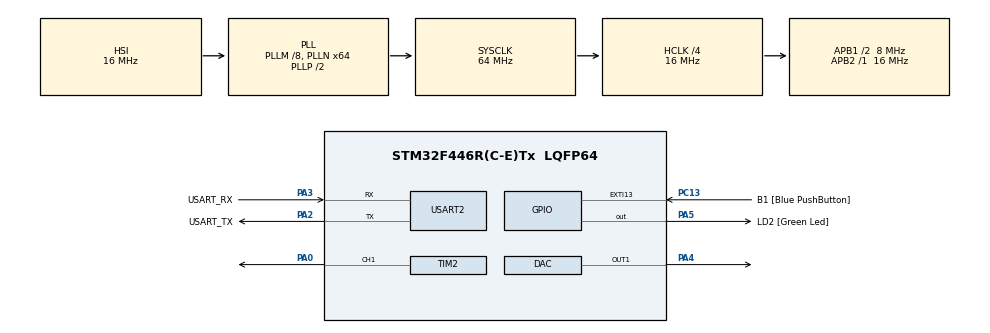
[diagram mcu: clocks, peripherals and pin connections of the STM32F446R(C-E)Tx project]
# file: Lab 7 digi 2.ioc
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DAC.DAC_Trigger=DAC_TRIGGER_NONE
Mcu.Family=STM32F4
Mcu.Name=STM32F446R(C-E)Tx
Mcu.Package=LQFP64
NVIC.PriorityGroup=NVIC_PRIORITYGROUP_0
NVIC.TIM3_IRQn=true\:0\:0\:false\:false\:true\:true\:true\:true
NVIC.USART2_IRQn=true\:0\:0\:false\:false\:true\:true\:true\:true
PA0-WKUP.Signal=S_TIM2_CH1_ETR
PA13.GPIO_Label=TMS
PA13.Signal=SYS_JTMS-SWDIO
PA14.GPIO_Label=TCK
PA14.Signal=SYS_JTCK-SWCLK
PA2.GPIO_Label=USART_TX
PA2.Mode=Asynchronous
PA2.Signal=USART2_TX
PA3.GPIO_Label=USART_RX
PA3.Mode=Asynchronous
PA3.Signal=USART2_RX
PA4.Signal=COMP_DAC1_group
PA5.GPIO_Label=LD2 [Green Led]
PA5.Signal=GPIO_Output
PB3.GPIO_Label=SWO
PB3.Signal=SYS_JTDO-SWO
PC13.GPIO_Label=B1 [Blue PushButton]
PC13.GPIO_ModeDefaultEXTI=GPIO_MODE_IT_FALLING
PC13.Signal=GPXTI13
PC14-OSC32_IN.Signal=RCC_OSC32_IN
PC15-OSC32_OUT.Signal=RCC_OSC32_OUT
PH0-OSC_IN.Signal=RCC_OSC_IN
PH1-OSC_OUT.Signal=RCC_OSC_OUT
ProjectManager.HeapSize=0x200
ProjectManager.StackSize=0x400
ProjectManager.TargetToolchain=STM32CubeIDE
RCC.AHBCLKDivider=RCC_SYSCLK_DIV4
RCC.AHBFreq_Value=16000000
RCC.APB1CLKDivider=RCC_HCLK_DIV2
RCC.APB1Freq_Value=8000000
RCC.APB1TimFreq_Value=16000000
RCC.APB2Freq_Value=16000000
RCC.APB2TimFreq_Value=16000000
RCC.CortexFreq_Value=16000000
RCC.FLatency-AdvancedSettings=FLASH_LATENCY_0
RCC.HCLKFreq_Value=16000000
RCC.HSE_VALUE=8000000
RCC.HSI_VALUE=16000000
RCC.LSE_VALUE=32768
RCC.PLLM=8
RCC.PLLN=64
RCC.SYSCLKFreq_VALUE=64000000
RCC.SYSCLKSource=RCC_SYSCLKSOURCE_PLLCLK
RCC.USBFreq_Value=64000000
RCC.VCOOutputFreq_Value=128000000
SH.COMP_DAC1_group.0=DAC_OUT1,DAC_OUT1
SH.S_TIM2_CH1_ETR.0=TIM2_CH1,PWM Generation1 CH1
TIM2.Channel-PWM\ Generation1\ CH1=TIM_CHANNEL_1
TIM2.Period=1000
TIM2.Prescaler=15
TIM2.Pulse-PWM\ Generation1\ CH1=500
TIM3.Period=124
TIM3.Prescaler=15
TIM6.Period=89
TIM6.TIM_MasterOutputTrigger=TIM_TRGO_UPDATE
USART2.VirtualMode=VM_ASYNC
VP_TIM2_VS_ClockSourceINT.Mode=Internal
VP_TIM3_VS_ClockSourceINT.Mode=Internal
VP_TIM6_VS_ClockSourceINT.Mode=Enable_Timer
board=NUCLEO-F446RE

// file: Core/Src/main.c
/* USER CODE BEGIN Header */
/**
  ******************************************************************************
  * @file           : main.c
  * @brief          : Main program body
  ******************************************************************************
  * @attention
  *
  * Copyright (c) 2026 STMicroelectronics.
  * All rights reserved.
  *
  * This software is licensed under terms that can be found in the LICENSE file
  * in the root directory of this software component.
  * If no LICENSE file comes with this software, it is provided AS-IS.
  *
  ******************************************************************************
  */
/* USER CODE END Header */
#include "main.h"

/* USER CODE BEGIN Includes */
#include <string.h>
/* USER CODE END Includes */

/* USER CODE BEGIN PD */
#define FS_DAC 8000UL
/* USER CODE END PD */

DAC_HandleTypeDef hdac;

TIM_HandleTypeDef htim2;
TIM_HandleTypeDef htim3;
TIM_HandleTypeDef htim6;

UART_HandleTypeDef huart2;

/* USER CODE BEGIN PV */
typedef struct {
    uint16_t frecuencia;
    uint8_t duracion;
    uint8_t punto;
} Nota;

static const Nota melodiaEntertainer[] = {
    {587, 8, 0}, {622, 8, 0}, {659, 8, 0}, {1047, 4, 0}, {659, 8, 0},
    {1047, 4, 0}, {659, 8, 0}, {1047, 2, 0}, {1047, 8, 0}, {1175, 8, 0},
    {1245, 8, 0}, {1319, 8, 0}, {1047, 8, 0}, {1175, 8, 0}, {1319, 8, 0},
    {988, 4, 0}, {1175, 8, 0}, {1047, 2, 0}
};

static const Nota melodiaZelda[] = {
    {932, 2, 0}, {698, 2, 0}, {0, 2, 0}, {932, 8, 0}, {1047, 8, 0},
    {1175, 8, 0}, {1245, 8, 0}, {1397, 2, 0}, {0, 2, 0}, {1397, 4, 0},
    {1397, 4, 0}, {1556, 8, 0}, {1661, 8, 0}, {1865, 2, 0}, {0, 2, 0},
    {1865, 4, 0}, {1865, 8, 0}, {0, 8, 0}, {1661, 8, 0}, {1556, 8, 0},
    {1661, 4, 0}, {1556, 8, 0}, {1397, 2, 0}, {0, 2, 0}, {1397, 2, 0},
    {1245, 4, 0}, {1245, 8, 0}, {1397, 8, 0}, {1556, 2, 0}, {0, 2, 0},
    {1397, 4, 0}, {1245, 4, 0}, {1109, 4, 0}, {1109, 8, 0}, {1245, 8, 0},
    {1397, 2, 0}, {0, 2, 0}, {1245, 4, 0}, {1109, 4, 0}, {1047, 4, 0},
    {1047, 8, 0}, {1175, 8, 0}, {1319, 2, 0}, {0, 2, 0}, {1568, 2, 0},
    {1397, 1, 1}
};

#define CANT_NOTAS_ENTERTAINER (sizeof(melodiaEntertainer) / sizeof(Nota))
#define CANT_NOTAS_ZELDA       (sizeof(melodiaZelda) / sizeof(Nota))

// Tabla Sinusoidal de 32 muestras para síntesis DAC
static const uint16_t tablaSeno32[32] = {
    2048, 2449, 2831, 3185, 3498, 3750, 3939, 4056,
    4095, 4056, 3939, 3750, 3498, 3185, 2831, 2449,
    2048, 1647, 1265,  911,  598,  346,  157,   40,
       0,   40,  157,  346,  598,  911, 1265, 1647
};

uint8_t rxBuffer[1];
volatile uint8_t comandoSeleccionado = 0;
volatile uint8_t reproducirDAC = 0;
volatile uint8_t reproducirPWM = 0;

volatile uint8_t indiceSeno = 0;
volatile uint32_t pasoAcumulador = 0;
volatile uint32_t acumuladorFase = 0;
/* USER CODE END PV */

void SystemClock_Config(void);
static void MX_GPIO_Init(void);
static void MX_DAC_Init(void);
static void MX_TIM6_Init(void);
static void MX_USART2_UART_Init(void);
static void MX_TIM2_Init(void);
static void MX_TIM3_Init(void);
/* USER CODE BEGIN PFP */
void MostrarMenuUART(void);
void ReproducirCancionDAC(void);
void ReproducirCancionPWM(void);
void FijarFrecuenciaPWM(uint16_t freq);
void FijarFrecuenciaDAC(uint16_t freq);
/* USER CODE END PFP */

int main(void)
{

  /* MCU Configuration--------------------------------------------------------*/

  /* Reset of all peripherals, Initializes the Flash interface and the Systick. */
  HAL_Init();

  /* Configure the system clock */
  SystemClock_Config();

  /* Initialize all configured peripherals */
  MX_GPIO_Init();
  MX_DAC_Init();
  MX_TIM6_Init();
  MX_USART2_UART_Init();
  MX_TIM2_Init();
  MX_TIM3_Init();
  /* USER CODE BEGIN 2 */
  //Iniciar contador de ciclos
  HAL_UART_Receive_IT(&huart2, rxBuffer, 1);
    HAL_TIM_Base_Start_IT(&htim3);
    HAL_DAC_Start(&hdac, DAC_CHANNEL_1);

    MostrarMenuUART();
  /* USER CODE END 2 */

  /* Infinite loop */
  /* USER CODE BEGIN WHILE */
    while (1)
      {
        if (comandoSeleccionado != 0)
        {
          if (comandoSeleccionado == '1')
          {
            reproducirDAC = 1;
            ReproducirCancionDAC();
            reproducirDAC = 0;
            HAL_DAC_SetValue(&hdac, DAC_CHANNEL_1, DAC_ALIGN_12B_R, 0);
            MostrarMenuUART();
          }
          else if (comandoSeleccionado == '2')
          {
            reproducirPWM = 1;
            ReproducirCancionPWM();
            reproducirPWM = 0;
            HAL_TIM_PWM_Stop(&htim2, TIM_CHANNEL_1);
            MostrarMenuUART();
          }
          comandoSeleccionado = 0;
        }
    /* USER CODE END WHILE */

      }
}

void SystemClock_Config(void)
{
  RCC_OscInitTypeDef RCC_OscInitStruct = {0};
  RCC_ClkInitTypeDef RCC_ClkInitStruct = {0};

  /** Configure the main internal regulator output voltage
  */
  __HAL_RCC_PWR_CLK_ENABLE();
  __HAL_PWR_VOLTAGESCALING_CONFIG(PWR_REGULATOR_VOLTAGE_SCALE3);

  /** Initializes the RCC Oscillators according to the specified parameters
  * in the RCC_OscInitTypeDef structure.
  */
  RCC_OscInitStruct.OscillatorType = RCC_OSCILLATORTYPE_HSI;
  RCC_OscInitStruct.HSIState = RCC_HSI_ON;
  RCC_OscInitStruct.HSICalibrationValue = RCC_HSICALIBRATION_DEFAULT;
  RCC_OscInitStruct.PLL.PLLState = RCC_PLL_ON;
  RCC_OscInitStruct.PLL.PLLSource = RCC_PLLSOURCE_HSI;
  RCC_OscInitStruct.PLL.PLLM = 8;
  RCC_OscInitStruct.PLL.PLLN = 64;
  RCC_OscInitStruct.PLL.PLLP = RCC_PLLP_DIV2;
  RCC_OscInitStruct.PLL.PLLQ = 2;
  RCC_OscInitStruct.PLL.PLLR = 2;
  if (HAL_RCC_OscConfig(&RCC_OscInitStruct) != HAL_OK)
  {
    Error_Handler();
  }

  /** Initializes the CPU, AHB and APB buses clocks
  */
  RCC_ClkInitStruct.ClockType = RCC_CLOCKTYPE_HCLK|RCC_CLOCKTYPE_SYSCLK
                              |RCC_CLOCKTYPE_PCLK1|RCC_CLOCKTYPE_PCLK2;
  RCC_ClkInitStruct.SYSCLKSource = RCC_SYSCLKSOURCE_PLLCLK;
  RCC_ClkInitStruct.AHBCLKDivider = RCC_SYSCLK_DIV4;
  RCC_ClkInitStruct.APB1CLKDivider = RCC_HCLK_DIV2;
  RCC_ClkInitStruct.APB2CLKDivider = RCC_HCLK_DIV1;

  if (HAL_RCC_ClockConfig(&RCC_ClkInitStruct, FLASH_LATENCY_0) != HAL_OK)
  {
    Error_Handler();
  }
}

static void MX_DAC_Init(void)
{

  DAC_ChannelConfTypeDef sConfig = {0};

  /** DAC Initialization
  */
  hdac.Instance = DAC;
  if (HAL_DAC_Init(&hdac) != HAL_OK)
  {
    Error_Handler();
  }

  /** DAC channel OUT1 config
  */
  sConfig.DAC_Trigger = DAC_TRIGGER_NONE;
  sConfig.DAC_OutputBuffer = DAC_OUTPUTBUFFER_ENABLE;
  if (HAL_DAC_ConfigChannel(&hdac, &sConfig, DAC_CHANNEL_1) != HAL_OK)
  {
    Error_Handler();
  }

}

static void MX_TIM2_Init(void)
{

  TIM_ClockConfigTypeDef sClockSourceConfig = {0};
  TIM_MasterConfigTypeDef sMasterConfig = {0};
  TIM_OC_InitTypeDef sConfigOC = {0};

  htim2.Instance = TIM2;
  htim2.Init.Prescaler = 15;
  htim2.Init.CounterMode = TIM_COUNTERMODE_UP;
  htim2.Init.Period = 1000;
  htim2.Init.ClockDivision = TIM_CLOCKDIVISION_DIV1;
  htim2.Init.AutoReloadPreload = TIM_AUTORELOAD_PRELOAD_DISABLE;
  if (HAL_TIM_Base_Init(&htim2) != HAL_OK)
  {
    Error_Handler();
  }
  sClockSourceConfig.ClockSource = TIM_CLOCKSOURCE_INTERNAL;
  if (HAL_TIM_ConfigClockSource(&htim2, &sClockSourceConfig) != HAL_OK)
  {
    Error_Handler();
  }
  if (HAL_TIM_PWM_Init(&htim2) != HAL_OK)
  {
    Error_Handler();
  }
  sMasterConfig.MasterOutputTrigger = TIM_TRGO_RESET;
  sMasterConfig.MasterSlaveMode = TIM_MASTERSLAVEMODE_DISABLE;
  if (HAL_TIMEx_MasterConfigSynchronization(&htim2, &sMasterConfig) != HAL_OK)
  {
    Error_Handler();
  }
  sConfigOC.OCMode = TIM_OCMODE_PWM1;
  sConfigOC.Pulse = 500;
  sConfigOC.OCPolarity = TIM_OCPOLARITY_HIGH;
  sConfigOC.OCFastMode = TIM_OCFAST_DISABLE;
  if (HAL_TIM_PWM_ConfigChannel(&htim2, &sConfigOC, TIM_CHANNEL_1) != HAL_OK)
  {
    Error_Handler();
  }
  HAL_TIM_MspPostInit(&htim2);

}

static void MX_TIM3_Init(void)
{

  TIM_ClockConfigTypeDef sClockSourceConfig = {0};
  TIM_MasterConfigTypeDef sMasterConfig = {0};

  htim3.Instance = TIM3;
  htim3.Init.Prescaler = 15;
  htim3.Init.CounterMode = TIM_COUNTERMODE_UP;
  htim3.Init.Period = 124;
  htim3.Init.ClockDivision = TIM_CLOCKDIVISION_DIV1;
  htim3.Init.AutoReloadPreload = TIM_AUTORELOAD_PRELOAD_DISABLE;
  if (HAL_TIM_Base_Init(&htim3) != HAL_OK)
  {
    Error_Handler();
  }
  sClockSourceConfig.ClockSource = TIM_CLOCKSOURCE_INTERNAL;
  if (HAL_TIM_ConfigClockSource(&htim3, &sClockSourceConfig) != HAL_OK)
  {
    Error_Handler();
  }
  sMasterConfig.MasterOutputTrigger = TIM_TRGO_RESET;
  sMasterConfig.MasterSlaveMode = TIM_MASTERSLAVEMODE_DISABLE;
  if (HAL_TIMEx_MasterConfigSynchronization(&htim3, &sMasterConfig) != HAL_OK)
  {
    Error_Handler();
  }

}

static void MX_TIM6_Init(void)
{

  TIM_MasterConfigTypeDef sMasterConfig = {0};

  htim6.Instance = TIM6;
  htim6.Init.Prescaler = 0;
  htim6.Init.CounterMode = TIM_COUNTERMODE_UP;
  htim6.Init.Period = 89;
  htim6.Init.AutoReloadPreload = TIM_AUTORELOAD_PRELOAD_DISABLE;
  if (HAL_TIM_Base_Init(&htim6) != HAL_OK)
  {
    Error_Handler();
  }
  sMasterConfig.MasterOutputTrigger = TIM_TRGO_UPDATE;
  sMasterConfig.MasterSlaveMode = TIM_MASTERSLAVEMODE_DISABLE;
  if (HAL_TIMEx_MasterConfigSynchronization(&htim6, &sMasterConfig) != HAL_OK)
  {
    Error_Handler();
  }

}

static void MX_USART2_UART_Init(void)
{

  huart2.Instance = USART2;
  huart2.Init.BaudRate = 115200;
  huart2.Init.WordLength = UART_WORDLENGTH_8B;
  huart2.Init.StopBits = UART_STOPBITS_1;
  huart2.Init.Parity = UART_PARITY_NONE;
  huart2.Init.Mode = UART_MODE_TX_RX;
  huart2.Init.HwFlowCtl = UART_HWCONTROL_NONE;
  huart2.Init.OverSampling = UART_OVERSAMPLING_16;
  if (HAL_UART_Init(&huart2) != HAL_OK)
  {
    Error_Handler();
  }

}

static void MX_GPIO_Init(void)
{
  GPIO_InitTypeDef GPIO_InitStruct = {0};

  /* GPIO Ports Clock Enable */
  __HAL_RCC_GPIOC_CLK_ENABLE();
  __HAL_RCC_GPIOH_CLK_ENABLE();
  __HAL_RCC_GPIOA_CLK_ENABLE();
  __HAL_RCC_GPIOB_CLK_ENABLE();

  /*Configure GPIO pin Output Level */
  HAL_GPIO_WritePin(LD2_GPIO_Port, LD2_Pin, GPIO_PIN_RESET);

  /*Configure GPIO pin : B1_Pin */
  GPIO_InitStruct.Pin = B1_Pin;
  GPIO_InitStruct.Mode = GPIO_MODE_IT_FALLING;
  GPIO_InitStruct.Pull = GPIO_NOPULL;
  HAL_GPIO_Init(B1_GPIO_Port, &GPIO_InitStruct);

  /*Configure GPIO pin : LD2_Pin */
  GPIO_InitStruct.Pin = LD2_Pin;
  GPIO_InitStruct.Mode = GPIO_MODE_OUTPUT_PP;
  GPIO_InitStruct.Pull = GPIO_NOPULL;
  GPIO_InitStruct.Speed = GPIO_SPEED_FREQ_LOW;
  HAL_GPIO_Init(LD2_GPIO_Port, &GPIO_InitStruct);

}

/* USER CODE BEGIN 4 */
void MostrarMenuUART(void)
{
  char menu[] = "\r\n  REPRODUCTOR DE AUDIO - LAB 07    \r\n"
                " 1. Reproducir Entertainer (DAC)  \r\n"
                " 2. Reproducir Zelda (PWM)      \r\n"
                "-----------------------------------\r\n"
                "Ingrese una opcion: ";
  HAL_UART_Transmit(&huart2, (uint8_t*)menu, strlen(menu), HAL_MAX_DELAY);
}

void HAL_UART_RxCpltCallback(UART_HandleTypeDef *huart)
{
  if (huart->Instance == USART2)
  {
    comandoSeleccionado = rxBuffer[0];
    HAL_UART_Receive_IT(&huart2, rxBuffer, 1);
  }
}

void FijarFrecuenciaDAC(uint16_t freq)
{
  if (freq == 0)
  {
    pasoAcumulador = 0;
    HAL_DAC_SetValue(&hdac, DAC_CHANNEL_1, DAC_ALIGN_12B_R, 0);
  }
  else
  {
    // paso = freq / Fs * 2^32
    pasoAcumulador = (uint32_t)((((uint64_t)freq) << 32) / FS_DAC);
  }
}

void HAL_TIM_PeriodElapsedCallback(TIM_HandleTypeDef *htim)
{
  if (htim->Instance == TIM3)
  {
    if (reproducirDAC && pasoAcumulador > 0)
    {
      acumuladorFase += pasoAcumulador;
      indiceSeno = acumuladorFase >> 27;   // 5 bits altos -> 0..31
      HAL_DAC_SetValue(&hdac, DAC_CHANNEL_1, DAC_ALIGN_12B_R, tablaSeno32[indiceSeno]);
    }
  }
}

void FijarFrecuenciaPWM(uint16_t freq)
{
  HAL_TIM_PWM_Stop(&htim2, TIM_CHANNEL_1);

  if (freq != 0)
  {
    uint32_t periodo = 1000000UL / freq;
    __HAL_TIM_SET_COUNTER(&htim2, 0);                       // <-- clave
    __HAL_TIM_SET_AUTORELOAD(&htim2, periodo - 1);
    __HAL_TIM_SET_COMPARE(&htim2, TIM_CHANNEL_1, periodo / 2);
    HAL_TIM_PWM_Start(&htim2, TIM_CHANNEL_1);
  }
}

void ReproducirCancionDAC(void)
{
  uint32_t duracionBaseMs = (60000 / 140) * 4; // BPM = 140

  for (size_t i = 0; i < CANT_NOTAS_ENTERTAINER; i++)
  {
    uint32_t duracionNota = duracionBaseMs / melodiaEntertainer[i].duracion;
    if (melodiaEntertainer[i].punto)
    {
      duracionNota += duracionNota / 2;
    }

    FijarFrecuenciaDAC(melodiaEntertainer[i].frecuencia);
    HAL_Delay(duracionNota * 0.9); // Tiempo de la nota encendida

    pasoAcumulador = 0;
    HAL_DAC_SetValue(&hdac, DAC_CHANNEL_1, DAC_ALIGN_12B_R, 0);
    HAL_Delay(duracionNota * 0.1); // Pausa staccato entre notas
  }
}

void ReproducirCancionPWM(void)
{
  uint32_t duracionBaseMs = (60000 / 200) * 4; // BPM = 200

  for (size_t i = 0; i < CANT_NOTAS_ZELDA; i++)
  {
    uint32_t duracionNota = duracionBaseMs / melodiaZelda[i].duracion;
    if (melodiaZelda[i].punto)
    {
      duracionNota += duracionNota / 2;
    }

    FijarFrecuenciaPWM(melodiaZelda[i].frecuencia);
    HAL_Delay(duracionNota * 0.9);

    HAL_TIM_PWM_Stop(&htim2, TIM_CHANNEL_1);
    HAL_Delay(duracionNota * 0.1);
  }
}
/* USER CODE END 4 */

void Error_Handler(void)
{
  __disable_irq();
  while (1)
  {
  }
}
